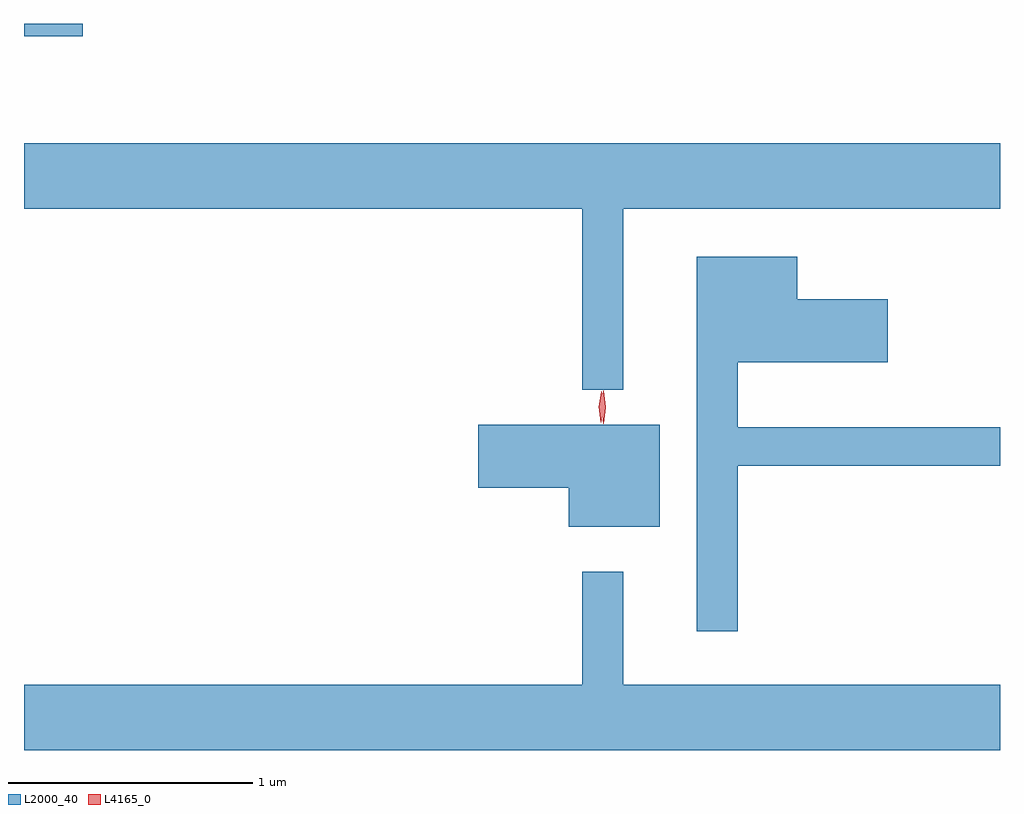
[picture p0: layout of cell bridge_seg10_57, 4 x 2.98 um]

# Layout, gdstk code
import gdstk
lib = gdstk.Library(unit=1e-6, precision=1e-09)
def R(c, l, rs):  # rectangles x0, y0, x1, y1
    for r in rs: c.add(gdstk.rectangle(r[:2], r[2:], *l))
def P(c, l, *ps):  # polygons
    for p in ps: c.add(gdstk.Polygon(p, *l))
L2000_40 = (2000, 40)
L4165_0 = (4165, 0)

bridge_seg10_57 = lib.new_cell('bridge_seg10_57')
R(bridge_seg10_57, L2000_40, [(1546.914,2172.341,1547.154,2172.393)])
P(bridge_seg10_57, L2000_40, [(1549.369,2171.636),(1550.914,2171.636),(1550.914,2171.904),(1546.914,2171.904),(1546.914,2171.636),(1549.201,2171.636),(1549.201,2170.893),(1549.369,2170.893)],
  [(1549.839,2170.581),(1550.914,2170.581),(1550.914,2170.739),(1549.839,2170.739),(1549.839,2171.006),(1550.454,2171.006),(1550.454,2171.264),(1550.084,2171.264),(1550.084,2171.439),(1549.671,2171.439),(1549.671,2169.903),(1549.839,2169.903)],
  [(1549.519,2170.749),(1548.776,2170.749),(1548.776,2170.491),(1549.146,2170.491),(1549.146,2170.331),(1549.519,2170.331)],
  [(1550.914,2169.684),(1549.369,2169.684),(1549.369,2170.148),(1549.201,2170.148),(1549.201,2169.684),(1546.914,2169.684),(1546.914,2169.416),(1550.914,2169.416)])
P(bridge_seg10_57, L4165_0, [(1549.288,2170.754),(1549.279,2170.822),(1549.288,2170.89),(1549.288,2170.89),(1549.289,2170.89),(1549.298,2170.822),(1549.29,2170.754),(1549.289,2170.754)],
  [(1549.279,2170.76),(1549.278,2170.761),(1549.27,2170.824),(1549.28,2170.886),(1549.28,2170.887),(1549.281,2170.886),(1549.29,2170.823),(1549.279,2170.761)])

lib.write_gds('bridge_seg10_57.gds')
